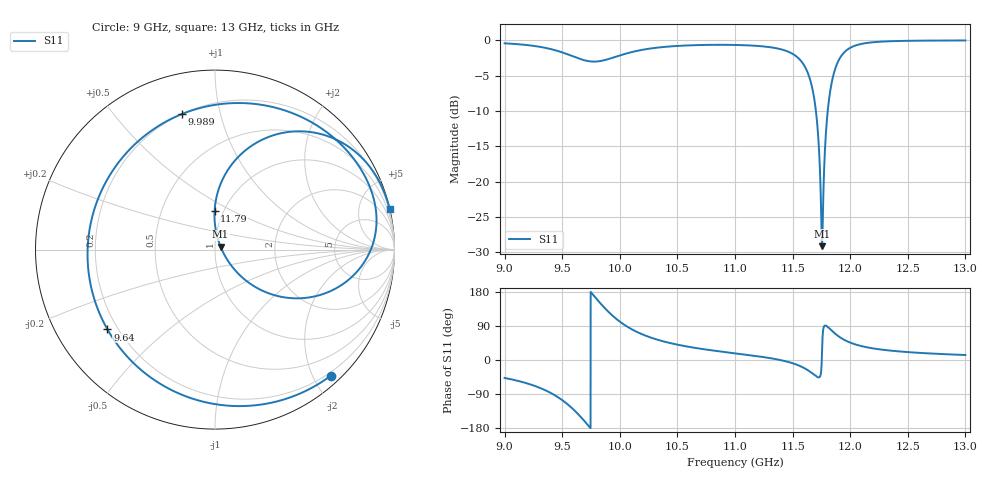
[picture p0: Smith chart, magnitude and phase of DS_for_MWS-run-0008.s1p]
! TOUCHSTONE file generated by CST DESIGN STUDIO
! Date and time: Tue Feb  4 17:48:21 2025
! Project name: C:\Work\MatlabApps\UnitCellOptimizationMatlab\CST\unitcell.cst
! Tree item: Tasks\Sweep1\SPara1\S-Parameters
! Header version: 2024
! Port assignment regex: !\s*Touchstone port\s*([0-9]+)\s*=\s*(CST MWS port|CST DES external port|CST DES block port)\s*(.+)\s* \(\"(.*)\"\)(\s*mode\s*([0-9]+))?.*
! Touchstone port assignment:
! Touchstone port 1 = CST DES external port 1 ("")
# GHz S MA R 50
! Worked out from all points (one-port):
!   4001 points, 9 GHz to 13 GHz, reference 50 ohm
!   lowest |S11| = -29.1 dB at 11.76 GHz (marker M1), VSWR 1.07, Z = 53.2 + j1.64 ohm
!   |S11| at or under -10 dB: 11.7 GHz to 11.8 GHz (102.4 MHz wide, 0.871 % of centre)
!   S11 on the Smith chart (normalised r, x): 9 GHz: 0.15, -2.27; 9.64 GHz: 0.16, -0.32; 9.989 GHz: 0.20, +0.76; 11.79 GHz: 0.91, +0.41; 13 GHz: 0.04, +8.67
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9  0.9536 -47.4
9.266  0.9112 -68.9
9.5  0.8224 -105.9
9.64  0.7462 -143.4
9.718  0.7154 -169.9
9.792  0.7083 163.4
9.892  0.7338 130.0
9.989  0.7773 103.8
10  0.7824 101.3
10.229  0.867 63.6
10.5  0.9135 40.5
11  0.9284 17.6
11.314  0.8927 4.5
11.5  0.8033 -8.5
11.594  0.6781 -20.2
11.674  0.4458 -35.9
11.712  0.266 -44.3
11.743  0.08808 -39.5
11.756  0.03498 26.2
11.769  0.09395 85.5
11.788  0.2133 90.6
11.816  0.3811 84.4
11.858  0.5843 72.6
11.916  0.7623 59.0
12  0.8859 45.9
12.182  0.9672 31.5
12.5  0.9931 20.9
13  0.9989 13.2
